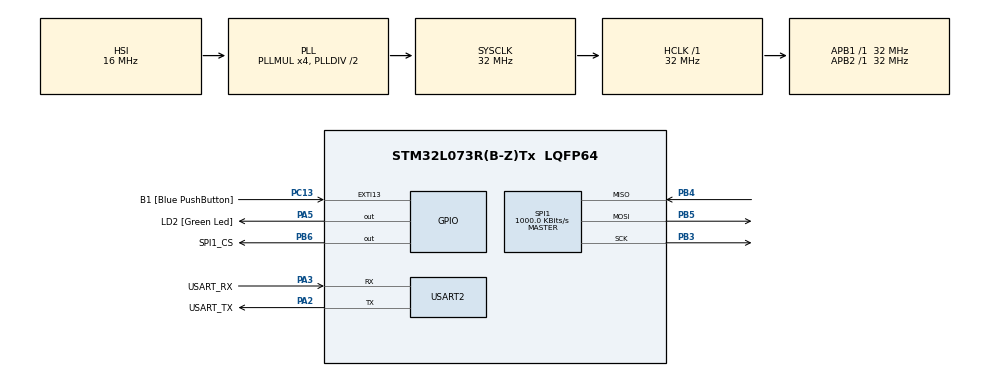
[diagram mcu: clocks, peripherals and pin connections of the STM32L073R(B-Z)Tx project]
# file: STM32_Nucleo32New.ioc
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Mcu.Family=STM32L0
Mcu.Name=STM32L073R(B-Z)Tx
Mcu.Package=LQFP64
PA13.GPIO_Label=TMS
PA13.Mode=Serial_Wire
PA13.Signal=SYS_SWDIO
PA14.GPIO_Label=TCK
PA14.Mode=Serial_Wire
PA14.Signal=SYS_SWCLK
PA2.GPIO_Label=USART_TX
PA2.Mode=Asynchronous
PA2.Signal=USART2_TX
PA3.GPIO_Label=USART_RX
PA3.Mode=Asynchronous
PA3.Signal=USART2_RX
PA5.GPIO_Label=LD2 [Green Led]
PA5.Signal=GPIO_Output
PB3.Mode=Full_Duplex_Master
PB3.Signal=SPI1_SCK
PB4.Mode=Full_Duplex_Master
PB4.Signal=SPI1_MISO
PB5.Mode=Full_Duplex_Master
PB5.Signal=SPI1_MOSI
PB6.GPIO_Label=SPI1_CS
PB6.PinState=GPIO_PIN_SET
PB6.Signal=GPIO_Output
PC13.GPIO_Label=B1 [Blue PushButton]
PC13.GPIO_ModeDefaultEXTI=GPIO_MODE_IT_FALLING
PC13.Signal=GPXTI13
PC14-OSC32_IN.Mode=LSE-External-Oscillator
PC14-OSC32_IN.Signal=RCC_OSC32_IN
PC15-OSC32_OUT.Mode=LSE-External-Oscillator
PC15-OSC32_OUT.Signal=RCC_OSC32_OUT
PH0-OSC_IN.GPIO_Label=MCO
PH0-OSC_IN.Mode=HSE-External-Clock-Source
PH0-OSC_IN.Signal=RCC_OSC_IN
ProjectManager.HeapSize=0x200
ProjectManager.StackSize=0x400
ProjectManager.TargetToolchain=TrueSTUDIO
RCC.AHBFreq_Value=32000000
RCC.APB1Freq_Value=32000000
RCC.APB1TimFreq_Value=32000000
RCC.APB2Freq_Value=32000000
RCC.APB2TimFreq_Value=32000000
RCC.HCLKFreq_Value=32000000
RCC.HSE_VALUE=8000000
RCC.HSI16_VALUE=16000000
RCC.HSI48_VALUE=48000000
RCC.HSI_VALUE=16000000
RCC.MSI_VALUE=2097000
RCC.PLLMUL=RCC_PLLMUL_4
RCC.SYSCLKFreq_VALUE=32000000
RCC.SYSCLKSource=RCC_SYSCLKSOURCE_PLLCLK
RCC.VCOOutputFreq_Value=64000000
SPI1.BaudRatePrescaler=SPI_BAUDRATEPRESCALER_32
SPI1.CalculateBaudRate=1000.0 KBits/s
SPI1.Direction=SPI_DIRECTION_2LINES
SPI1.Mode=SPI_MODE_MASTER
SPI1.VirtualType=VM_MASTER
USART2.VirtualMode-Asynchronous=VM_ASYNC
VP_ADC_TempSens_Input.Mode=IN-TempSens
board=NUCLEO-L073RZ

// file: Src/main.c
/* USER CODE BEGIN Header */
/**
  ******************************************************************************
  * @file           : main.c
  * @brief          : Main program body
  ******************************************************************************
  ** This notice applies to any and all portions of this file
  * that are not between comment pairs USER CODE BEGIN and
  * USER CODE END. Other portions of this file, whether
  * inserted by the user or by software development tools
  * are owned by their respective copyright owners.
  *
  * COPYRIGHT(c) 2019 STMicroelectronics
  *
  * Redistribution and use in source and binary forms, with or without modification,
  * are permitted provided that the following conditions are met:
  *   1. Redistributions of source code must retain the above copyright notice,
  *      this list of conditions and the following disclaimer.
  *   2. Redistributions in binary form must reproduce the above copyright notice,
  *      this list of conditions and the following disclaimer in the documentation
  *      and/or other materials provided with the distribution.
  *   3. Neither the name of STMicroelectronics nor the names of its contributors
  *      may be used to endorse or promote products derived from this software
  *      without specific prior written permission.
  *
  * THIS SOFTWARE IS PROVIDED BY THE COPYRIGHT HOLDERS AND CONTRIBUTORS "AS IS"
  * AND ANY EXPRESS OR IMPLIED WARRANTIES, INCLUDING, BUT NOT LIMITED TO, THE
  * IMPLIED WARRANTIES OF MERCHANTABILITY AND FITNESS FOR A PARTICULAR PURPOSE ARE
  * DISCLAIMED. IN NO EVENT SHALL THE COPYRIGHT HOLDER OR CONTRIBUTORS BE LIABLE
  * FOR ANY DIRECT, INDIRECT, INCIDENTAL, SPECIAL, EXEMPLARY, OR CONSEQUENTIAL
  * DAMAGES (INCLUDING, BUT NOT LIMITED TO, PROCUREMENT OF SUBSTITUTE GOODS OR
  * SERVICES; LOSS OF USE, DATA, OR PROFITS; OR BUSINESS INTERRUPTION) HOWEVER
  * CAUSED AND ON ANY THEORY OF LIABILITY, WHETHER IN CONTRACT, STRICT LIABILITY,
  * OR TORT (INCLUDING NEGLIGENCE OR OTHERWISE) ARISING IN ANY WAY OUT OF THE USE
  * OF THIS SOFTWARE, EVEN IF ADVISED OF THE POSSIBILITY OF SUCH DAMAGE.
  *
  ******************************************************************************
  */
/* USER CODE END Header */

#include "main.h"

/* USER CODE BEGIN Includes */
#include "string.h"
#include "stdlib.h"
#include "stdio.h"
#include "math.h"
#include "ADXL355.h"
/* USER CODE END Includes */

/* USER CODE BEGIN PTD */
typedef struct {
	uint32_t * buf;
	int head;
	int tail;
	int size;
} fifo_t;
/* USER CODE END PTD */

/* USER CODE BEGIN PD */
#define SECONDS 1000
#define BUFFER_SIZE 17 // note that it is size n-1
//#define DATA_SIZE 15 //for FIFO debugging
#define DELAY 1 //in seconds

#define TEMP130_CAL_ADDR ((uint16_t*) ((uint32_t) 0x1FF8007E))
#define TEMP30_CAL_ADDR ((uint16_t*) ((uint32_t) 0x1FF8007A))
#define VDD_CALIB ((uint16_t) (300))
#define VDD_APPLI ((uint16_t) (330)) // <-- change this to according to your supply voltage

/* USER CODE END PD */

ADC_HandleTypeDef hadc;

SPI_HandleTypeDef hspi1;

UART_HandleTypeDef huart2;

/* USER CODE BEGIN PV */
fifo_t fifoX; //fifo declaration
fifo_t fifoY; //fifo declaration
fifo_t fifoZ; //fifo declaration
uint32_t bufferX[BUFFER_SIZE]; //FIFO buffer declaration
uint32_t bufferY[BUFFER_SIZE]; //FIFO buffer declaration
uint32_t bufferZ[BUFFER_SIZE]; //FIFO buffer declaration

uint32_t *pBufferX = &bufferX[0]; //pointer declarations
uint32_t *pBufferY = &bufferY[0]; //pointer declarations
uint32_t *pBufferZ = &bufferZ[0]; //pointer declarations
fifo_t *pFifoX = &fifoX; //pointer declarations
fifo_t *pFifoY = &fifoY; //pointer declarations
fifo_t *pFifoZ = &fifoZ; //pointer declarations
/* USER CODE END PV */

void SystemClock_Config(void);
static void MX_GPIO_Init(void);
static void MX_USART2_UART_Init(void);
static void MX_SPI1_Init(void);
static void MX_ADC_Init(void);

/* USER CODE BEGIN 0 */
int stateManager(int oldState, int index, char currentChar);
int commandVerifier(char string[]);
void commandHandler(int command, char string[]);
void commandExecutor(int command, char substring[]);

void commandHelp(char substring[]);
void commandADXL355(char substring[]);
void commandSPI_read(char substring[]);
void commandSPI_write(char substring[]);
void commandInit(char substring[]);
void commandMeasure(char substring[]);

void verifyOrientationFIFO(void);
void floatToString(float num, int decimals, char * str, int strLength);
float rangeToScale(int range);

void fifo_init(fifo_t *f, uint32_t *buf, int size);
int fifo_read(fifo_t *f, void * buf, int nbytes);
int fifo_write(fifo_t *f, const void *buf, int nbytes);
float fifo_average(fifo_t *f);
void fifoDebugger(void);

void printTempST(void);
float computeTemperature(uint32_t measure);

/* USER CODE END 0 */

int main(void) {
  /* USER CODE BEGIN 1 */
	enum commands { non_command, help, ADXL355, SPI_read, SPI_write, init , measure, FIFO } command;
	enum state { begin, next, eol } currentState;

   	uint8_t startupMessage[] = "Hello! Please type below: \r\n\n";
	uint8_t newLine[] = "\r\n";

	int startupMessageLength = 29;
	int newLineLength = 2;

	char in[1];
	char buffer [256];
  /* USER CODE END 1 */

  /* MCU Configuration--------------------------------------------------------*/

  /* Reset of all peripherals, Initializes the Flash interface and the Systick. */
  HAL_Init();

  /* USER CODE BEGIN Init */
  fifo_init(pFifoX, pBufferX, BUFFER_SIZE); //initialization for x FIFO
  fifo_init(pFifoY, pBufferY, BUFFER_SIZE); //initialization for y FIFO
  fifo_init(pFifoZ, pBufferZ, BUFFER_SIZE); //initialization for z FIFO
  /* USER CODE END Init */

  /* Configure the system clock */
  SystemClock_Config();

  /* Initialize all configured peripherals */
  MX_GPIO_Init();
  MX_USART2_UART_Init();
  MX_SPI1_Init();
  MX_ADC_Init();

  /* Infinite loop */
  /* USER CODE BEGIN WHILE */

  HAL_UART_Transmit(&huart2, newLine, newLineLength, 100); //prints new line
  HAL_StatusTypeDef status = HAL_UART_Transmit(&huart2, startupMessage, startupMessageLength, 100); //defining status.. "type something"

  int j = 0; //index of char we are about to type
  currentState = begin;

  while (1)
  {
    /* USER CODE END WHILE */

    /* USER CODE BEGIN 3 */
	  switch ( currentState ) { //state machine

	  case begin :
		  j = 0; //first index

		  do
			  status = HAL_UART_Receive(&huart2, (uint8_t *)in, 1, 1000);
		  while (status != HAL_OK); //keep looping till they type

		  buffer[j] = in[0]; //copy what they typed onto the buffer
	  	  buffer[j+1] = '\0';

	  	  HAL_UART_Transmit(&huart2, (uint8_t *)in, 1, 100); //prints right away
	  	  currentState = stateManager(begin, j, in[0]); //switch states

	  	  break;

	  case next :
		  j++; //increment as they're still going to type

		  do
			  status = HAL_UART_Receive(&huart2, (uint8_t *)in, 1, 1000);
		  while (status != HAL_OK); //keep looping till they type

		  buffer[j] = in[0]; //copy what they typed onto the buffer
	  	  buffer[j+1] = '\0'; //cap the end of the string

	  	  HAL_UART_Transmit(&huart2, (uint8_t *)in, 1, 100); //prints right away

	  	  if (buffer[j] == '\177' || buffer[j] == 0x08) { //backspace (not sure about the \177 key but it was necessary)
	  		  j--;
	  		  buffer[j] = '\0'; // new line
	  		  j--;
	  	  }

	  	  currentState = stateManager(next, j, in[0]);

	  	  break;

	  case eol : //end of line

		  command = commandVerifier(buffer); //checking to see if a valid command was inputed
		  if (command != non_command)  //if command typed is valid then send it to the commandHandler
			  commandHandler(command, buffer);
		  else
			  printf("\r\nInvalid input... type 'help' for valid inputs\r\n");

		  HAL_UART_Transmit(&huart2, (uint8_t *) newLine, newLineLength, 100); //prints new line
		  currentState = stateManager(eol, j, in[0]); //switches states
		  break;
	  }
  }
  /* USER CODE END 3 */
}

void SystemClock_Config(void)
{
  RCC_OscInitTypeDef RCC_OscInitStruct = {0};
  RCC_ClkInitTypeDef RCC_ClkInitStruct = {0};
  RCC_PeriphCLKInitTypeDef PeriphClkInit = {0};

  /**Configure the main internal regulator output voltage
  */
  __HAL_PWR_VOLTAGESCALING_CONFIG(PWR_REGULATOR_VOLTAGE_SCALE1);
  /**Initializes the CPU, AHB and APB busses clocks
  */
  RCC_OscInitStruct.OscillatorType = RCC_OSCILLATORTYPE_HSI;
  RCC_OscInitStruct.HSIState = RCC_HSI_ON;
  RCC_OscInitStruct.HSICalibrationValue = RCC_HSICALIBRATION_DEFAULT;
  RCC_OscInitStruct.PLL.PLLState = RCC_PLL_ON;
  RCC_OscInitStruct.PLL.PLLSource = RCC_PLLSOURCE_HSI;
  RCC_OscInitStruct.PLL.PLLMUL = RCC_PLLMUL_4;
  RCC_OscInitStruct.PLL.PLLDIV = RCC_PLLDIV_2;
  if (HAL_RCC_OscConfig(&RCC_OscInitStruct) != HAL_OK)
  {
    Error_Handler();
  }
  /**Initializes the CPU, AHB and APB busses clocks
  */
  RCC_ClkInitStruct.ClockType = RCC_CLOCKTYPE_HCLK|RCC_CLOCKTYPE_SYSCLK
                              |RCC_CLOCKTYPE_PCLK1|RCC_CLOCKTYPE_PCLK2;
  RCC_ClkInitStruct.SYSCLKSource = RCC_SYSCLKSOURCE_PLLCLK;
  RCC_ClkInitStruct.AHBCLKDivider = RCC_SYSCLK_DIV1;
  RCC_ClkInitStruct.APB1CLKDivider = RCC_HCLK_DIV1;
  RCC_ClkInitStruct.APB2CLKDivider = RCC_HCLK_DIV1;

  if (HAL_RCC_ClockConfig(&RCC_ClkInitStruct, FLASH_LATENCY_1) != HAL_OK)
  {
    Error_Handler();
  }
  PeriphClkInit.PeriphClockSelection = RCC_PERIPHCLK_USART2;
  PeriphClkInit.Usart2ClockSelection = RCC_USART2CLKSOURCE_PCLK1;
  if (HAL_RCCEx_PeriphCLKConfig(&PeriphClkInit) != HAL_OK)
  {
    Error_Handler();
  }
}

static void MX_ADC_Init(void)
{

  ADC_ChannelConfTypeDef sConfig = {0};

  /**Configure the global features of the ADC (Clock, Resolution, Data Alignment and number of conversion)
  */
  hadc.Instance = ADC1;
  hadc.Init.OversamplingMode = DISABLE;
  hadc.Init.ClockPrescaler = ADC_CLOCK_SYNC_PCLK_DIV2;
  hadc.Init.Resolution = ADC_RESOLUTION_12B;
  hadc.Init.SamplingTime = ADC_SAMPLETIME_19CYCLES_5;
  hadc.Init.ScanConvMode = ADC_SCAN_DIRECTION_FORWARD;
  hadc.Init.DataAlign = ADC_DATAALIGN_RIGHT;
  hadc.Init.ContinuousConvMode = DISABLE;
  hadc.Init.DiscontinuousConvMode = DISABLE;
  hadc.Init.ExternalTrigConvEdge = ADC_EXTERNALTRIGCONVEDGE_NONE;
  hadc.Init.ExternalTrigConv = ADC_SOFTWARE_START;
  hadc.Init.DMAContinuousRequests = DISABLE;
  hadc.Init.EOCSelection = ADC_EOC_SINGLE_CONV;
  hadc.Init.Overrun = ADC_OVR_DATA_PRESERVED;
  hadc.Init.LowPowerAutoWait = DISABLE;
  hadc.Init.LowPowerFrequencyMode = DISABLE;
  hadc.Init.LowPowerAutoPowerOff = DISABLE;
  if (HAL_ADC_Init(&hadc) != HAL_OK)
  {
    Error_Handler();
  }
  /**Configure for the selected ADC regular channel to be converted.
  */
  sConfig.Channel = ADC_CHANNEL_TEMPSENSOR;
  sConfig.Rank = ADC_RANK_CHANNEL_NUMBER;
  if (HAL_ADC_ConfigChannel(&hadc, &sConfig) != HAL_OK)
  {
    Error_Handler();
  }

}

static void MX_SPI1_Init(void)
{

  /* SPI1 parameter configuration*/
  hspi1.Instance = SPI1;
  hspi1.Init.Mode = SPI_MODE_MASTER;
  hspi1.Init.Direction = SPI_DIRECTION_2LINES;
  hspi1.Init.DataSize = SPI_DATASIZE_8BIT;
  hspi1.Init.CLKPolarity = SPI_POLARITY_LOW;
  hspi1.Init.CLKPhase = SPI_PHASE_1EDGE;
  hspi1.Init.NSS = SPI_NSS_SOFT;
  hspi1.Init.BaudRatePrescaler = SPI_BAUDRATEPRESCALER_32;
  hspi1.Init.FirstBit = SPI_FIRSTBIT_MSB;
  hspi1.Init.TIMode = SPI_TIMODE_DISABLE;
  hspi1.Init.CRCCalculation = SPI_CRCCALCULATION_DISABLE;
  hspi1.Init.CRCPolynomial = 7;
  if (HAL_SPI_Init(&hspi1) != HAL_OK)
  {
    Error_Handler();
  }

}

static void MX_USART2_UART_Init(void)
{

  huart2.Instance = USART2;
  huart2.Init.BaudRate = 115200;
  huart2.Init.WordLength = UART_WORDLENGTH_8B;
  huart2.Init.StopBits = UART_STOPBITS_1;
  huart2.Init.Parity = UART_PARITY_NONE;
  huart2.Init.Mode = UART_MODE_TX_RX;
  huart2.Init.HwFlowCtl = UART_HWCONTROL_NONE;
  huart2.Init.OverSampling = UART_OVERSAMPLING_16;
  huart2.Init.OneBitSampling = UART_ONE_BIT_SAMPLE_DISABLE;
  huart2.AdvancedInit.AdvFeatureInit = UART_ADVFEATURE_NO_INIT;
  if (HAL_UART_Init(&huart2) != HAL_OK)
  {
    Error_Handler();
  }

}

static void MX_GPIO_Init(void)
{
  GPIO_InitTypeDef GPIO_InitStruct = {0};

  /* GPIO Ports Clock Enable */
  __HAL_RCC_GPIOC_CLK_ENABLE();
  __HAL_RCC_GPIOH_CLK_ENABLE();
  __HAL_RCC_GPIOA_CLK_ENABLE();
  __HAL_RCC_GPIOB_CLK_ENABLE();

  /*Configure GPIO pin Output Level */
  HAL_GPIO_WritePin(LD2_GPIO_Port, LD2_Pin, GPIO_PIN_RESET);

  /*Configure GPIO pin Output Level */
  HAL_GPIO_WritePin(SPI1_CS_GPIO_Port, SPI1_CS_Pin, GPIO_PIN_SET);

  /*Configure GPIO pin : B1_Pin */
  GPIO_InitStruct.Pin = B1_Pin;
  GPIO_InitStruct.Mode = GPIO_MODE_IT_FALLING;
  GPIO_InitStruct.Pull = GPIO_NOPULL;
  HAL_GPIO_Init(B1_GPIO_Port, &GPIO_InitStruct);

  /*Configure GPIO pin : LD2_Pin */
  GPIO_InitStruct.Pin = LD2_Pin;
  GPIO_InitStruct.Mode = GPIO_MODE_OUTPUT_PP;
  GPIO_InitStruct.Pull = GPIO_NOPULL;
  GPIO_InitStruct.Speed = GPIO_SPEED_FREQ_LOW;
  HAL_GPIO_Init(LD2_GPIO_Port, &GPIO_InitStruct);

  /*Configure GPIO pin : SPI1_CS_Pin */
  GPIO_InitStruct.Pin = SPI1_CS_Pin;
  GPIO_InitStruct.Mode = GPIO_MODE_OUTPUT_PP;
  GPIO_InitStruct.Pull = GPIO_NOPULL;
  GPIO_InitStruct.Speed = GPIO_SPEED_FREQ_LOW;
  HAL_GPIO_Init(SPI1_CS_GPIO_Port, &GPIO_InitStruct);

}

/* USER CODE BEGIN 4 */
float computeTemperature(uint32_t measure) {

	float temp130 = (float) *TEMP130_CAL_ADDR;
	float temp30 = (float) *TEMP30_CAL_ADDR;

	float temperature = (float)(130-30)/(temp130-temp30); //slope
	temperature = temperature*((float)measure-*TEMP30_CAL_ADDR);
	temperature += 30.0;
	return(temperature);
}

void printTempST(void) {
	//ADC->CCR |= ADC_CCR_TSVREFE;
	//ADC->CCR &= ~ADC_CCR_VBATE ;

	uint32_t g_ADCValue;
	//float g_ADCValueF;
	//char g_ADCValueS[6];

	if (HAL_ADC_PollForConversion(&hadc, 1000000) == HAL_OK) {
		g_ADCValue = HAL_ADC_GetValue(&hadc);
		//g_ADCValueF = computeTemperature(g_ADCValue);
		//floatToString(g_ADCValueF, 2, g_ADCValueS, 5);

		printf("MCU Temp (C):, %lu", g_ADCValue);
	}
}

//these two functions below allow us to use printf on the STM32 controller though stdio.h - do not modify
int __io_putchar(int ch) {
	uint8_t c[1];
	c[0] = ch & 0x00FF;
	HAL_UART_Transmit(&huart2, &*c, 1, 10);
	return ch;
}
int _write(int file, char *ptr, int len) {
	int DataIdx;
	for(DataIdx= 0; DataIdx < len; DataIdx++)
		__io_putchar(*ptr++);
return len;
}

/*
 * @param : void
 *
 * This function is called before reading from the FIFO - it ensures that it is 'oriented correctly'
 * That is, that the user will commence by reading a value from the x register, then y and z respectively
 */
void verifyOrientationFIFO (void) {
	enum state { one , firstZero, secondZero, searching } currentState; //state machine

	int timeoutChecker = 0;
	uint8_t a1, a2, a3; //used to read from a register (ie: x has 20 bits, we read 8 at a time)
	currentState = searching;

	uint8_t txData = (0x11 << 1) | 1 ;  //setting up the MOSI byte

	while (1) {  //keep looping till FIFO is oriented on x

		int counter = 0;

		if (timeoutChecker > 30000) {
			//printf("\r\nError: Timed out when trying to orient the FIFO\r\n");
			return; //simple timeout checker, allows us to try arond 300 times before exiting
		} else
			timeoutChecker++;

		HAL_GPIO_WritePin(SPI1_CS_GPIO_Port, SPI1_CS_Pin, GPIO_PIN_RESET); // CS ON

		HAL_SPI_Transmit (&hspi1, &txData, 1, 100);

		HAL_SPI_Receive (&hspi1, &a1, 1, 100); //could be x, y, or z - most sig digits
		HAL_SPI_Receive (&hspi1, &a2, 1, 100); //could be x, y, or z - middle sig digits
		HAL_SPI_Receive (&hspi1, &a3, 1, 100); //could be x, y, or z - last 2 bits refer to the x bit,

		a3 = a3 & 3 ; //only look at last 2 bits, bc it contains a tag that lets you know if it is an x bit

		HAL_GPIO_WritePin(SPI1_CS_GPIO_Port, SPI1_CS_Pin, GPIO_PIN_SET); // CS OFF

		switch ( currentState ) {

		    case one : //an x bit
			    if ( a3 == 0 )
				    currentState = firstZero;
			    break;

		    case firstZero : //right after the x bit, therefore y
			    if ( a3 == 0 )
				    currentState = secondZero;
			    break;

		    case secondZero : //right after the y bit, therefore z
		    	counter++;

		    	if (counter > 32)
		    		return; //returns so that we will read on x
		    	else {
		    		currentState = one;
		    		break;
		    	}

		    default :
		    	if ( a3 == 1 )
				    currentState = one;
			    break;
		}
	}
}
/*
 * @param num - the float number we will convert into a string
 * @param decimals - the number of decimals our number will have
 * @param *str - pointer to the string we are going to write into
 * @param strLength - the length of the string we are going to write into
 *
 * This function takes in a float value, and writes it into a string
 */
void floatToString(float num, int decimals, char * str, int strLength) {
	int decimalPart;
	int integerPart;

	integerPart = num;
	num = num - integerPart;

	int scale = 1;

	for ( int i = 0 ; i < decimals ; i++ )
		scale *= 10 ;

	decimalPart = num * scale;

	if ( num > 0 )
		sprintf(str, "%d.%d", integerPart, decimalPart);
	else if ( num < 0 ) {
		decimalPart *= -1;
		decimalPart /= 10;
		if (integerPart == 0 )
			sprintf(str, "-%d.%d", integerPart, decimalPart);
		else
			sprintf(str, "%d.%d", integerPart, decimalPart);
	} else if ( num == 0 ) {
		sprintf(str, "%d.", integerPart);
		for ( int i = 0 ; i < decimals ; i++)
			sprintf(str, "%s0", str);
	}

	while (strlen(str) < strLength)
		strcat(str, "0");
}
float rangeToScale(int range) {
	switch ( range ) { //set the scale based off of the current range

	case 2 :
		return 256000.0;

	case 4 :
		return 128000.0;

	case 8 :
		return 64000.0;

	default :
		return 256000.0;
	}
}

/*
 * @param : oldState - the state that the user was at before typing a character
 * @param : index - the number of keys that the user has typed in a line minus 1
 * @param : currentChar - the character the user inputed
 *
 * This function decides what state to send the user into after typing in a character
 */
int stateManager(int oldState, int index, char currentChar) {
	enum state { begin, next, eol };

	if (oldState == eol) //after pressing enter, one should start a new line
		return begin;
	if (index > 253) //cannot read more than 1 byte of data, left some room to work w/ just in case
		return eol;

	switch ( currentChar ) {
	case 0x08 : //backspace
		if (index == 0)
			return begin;
		else
			return next;

	case 0x20 : //space bar
		return next;

	case 0x0D : //enter
		return eol;

	case 0x0A : //line feed
		return eol;

	default : //any other key
		return next;
	}
}
/*
 * @param : string - the string of characters the user inputed, used to see if the user
 *                   inputed a valid command
 * @return : int - the command (enum) that was selected, or non_command if something else was typed
 *
 * This function was used to verify whether a valid command was inputed
 */
int commandVerifier(char string[]) {
	enum commands { non_command, help, ADXL355, SPI_read, SPI_write, init , measure, FIFO } ;

	char parser;
	int size = 0;
	do { //until it hits the space bar key or enter
		parser = string[size];
		size++;
	} while (parser != 0x20 && parser != 0x0D);

	size--;

	char commandString[size+1];
	for (int i = 0 ; i < size ; i++)
		commandString[i] = string[i];

	commandString[size] = '\0'; // cap off the first word as its own string

	if (strcmp(commandString, "help") == 0) //check to see if it matches any commands
		return help;
	else if (strcmp(commandString, "ADXL355") == 0)
		return ADXL355;
	else if (strcmp(commandString, "SPI_read") == 0)
			return SPI_read;
	else if (strcmp(commandString, "SPI_write") == 0)
			return SPI_write;
	else if (strcmp(commandString, "init") == 0)
		return init;
	else if (strcmp(commandString, "measure") == 0)
		return measure;
	else if (strcmp(commandString, "FIFO") == 0)
		return FIFO;
	else
		return non_command;
}
/*
 * @param : command - the command that has been verified
 * @param : string - what the user has typed in
 *
 * This function splits up the command string into the substring not containing the command itself,
 * and sends it to be executed
 */
void commandHandler(int command, char string[]) {
	enum commands { non_command, help, ADXL355, SPI_read, SPI_write, init , measure, FIFO };
	int size = -1; //garbage size value initialization

	switch ( command ) {
	case help :
		size = strlen(string)-strlen("help ");
		break;

	case ADXL355 :
		size = strlen(string)-strlen("ADXL355 ");
		break;

	case SPI_read :
		size = strlen(string)-strlen("SPI_read ");
		break;

	case SPI_write :
		size = strlen(string)- strlen("SPI_write ");
		break;

	case init :
		size = strlen(string)- strlen("init");
		break;

	case measure :
		size = strlen(string)- strlen("measure ");
		break;

	case FIFO :
		size = strlen(string)- strlen("FIFO");
		break;
	}

	char restOfLine[size];
	for (int i = 0 ; i < size ; i++)
		restOfLine[i] = string[strlen(string)-size+i];

	if (restOfLine[size-1] == 0x0D || restOfLine[size-1] == 0x20)
		restOfLine[size-1] = '\0'; //changed to size-1 instead of size
	else
		restOfLine[size] = '\0';

	if ((size == 0 && command == help) || (size == 0 && command == init) || (size == 0 && command == FIFO))
		commandExecutor(command, "\r");
	else
		commandExecutor(command, restOfLine);

}
/*
 * @param : command, substring - the command and substring read from a user
 *
 * This function calls the appropriate function corresponding to the command given
 */
void commandExecutor(int command, char substring[]) {
	enum commands { non_command, help, ADXL355, SPI_read, SPI_write, init , measure, FIFO };

	switch ( command ) {
	case help :
		commandHelp(substring);
		return;

	case ADXL355 :
		commandADXL355(substring);
		return;

	case SPI_read :
		commandSPI_read(substring);
		return;

	case SPI_write :
		commandSPI_write(substring);
		return;

	case init :
		commandInit(substring);
		return;

	case measure :
		commandMeasure(substring);
		return;

	case FIFO :
		fifoDebugger();
		return;
	}
}

/*
 * @param : substring
 *
 * This command prints some basic help to the user, so that they know how to use this software,
 * hand-in-hand with the ADXL355 eval board
 */
void commandHelp(char substring[]) {
	int size = strlen(substring);

	if (size == 1 && substring[0] == 0x0D) {
		printf("\r\nTo use a command, enter ADXL355, followed by the command/parameters, \r\nwith a single space in "
				"between each word.\r\n\nCurrent valid commands are: SPI_read , SPI_write , init , measure\r\n");
		printf("To check the parameters for a specific function, type \"help <function_name>\"\r\n");
		return;
	} else if ((strcmp(substring, "ADXL355 SPI_read") == 0) || (strcmp(substring, "SPI_read") == 0)) {
		printf("\r\nTo read from a register, type \"ADXL355 SPI_read <register_number>\"");
		printf("\r\nNote that registers are unsigned integers, in hexadecimal form.");
		printf("\r\n");
		return;
	} else if ((strcmp(substring, "ADXL355 SPI_write") == 0) || (strcmp(substring, "SPI_write") == 0)) {
		printf("\r\nTo write to a register, type \"ADXL355 SPI_write <register_number> <data_you_are_sending>\"");
		printf("\r\nNote that registers are unsigned integers, in hexadecimal form, while data is in decimal form.");
		printf("\r\n");
		return;
	} else if ((strcmp(substring, "ADXL355 measure") == 0) || (strcmp(substring, "measure") == 0)) {
		printf("\r\nTo measure all values, type \"ADXL355 measure ALL <delay time in seconds\"");
		printf("\r\n");
		return;
	} else if ((strcmp(substring, "ADXL355 init") == 0) || (strcmp(substring, "init") == 0)) {
		printf("\r\nTo reset and initialize the accelerometer, type \"ADXL355 init\"");
		printf("\r\n");
		return;
	} else {
		printf("\r\nInvalid input - either type \"help\" or \"help <function_name>\"");
		printf("\r\n");
	}
}
/*
 * @param : substring
 *
 * This special command focuses on the ADXL355, ensuring that this is the eval board being called
 * It takes the rest of the string (substring) and resends it to the command verifier to determine
 * if a specific ADXL355 command has been called
 */
void commandADXL355(char substring[]) {
	enum commands { non_command, help, ADXL355, SPI_read, SPI_write, init , measure, FIFO } command;

	command = commandVerifier(substring); //checking to see if a valid ADXL355 command was inputed
	if (command != non_command)  //if command typed is valid then send it to the commandHandler
		commandHandler(command, substring);
	else
		printf("\nError: Invalid command. Valid commands are start, stop,\r\nSPI_read, SPI_write, init , measure \r\n");
}
/*
 * @param : substring
 *
 * This function uses SPI to read from the ADXL355 accelerometer
 * This function can be used to read a specific address, the range, or all registers at once,
 * depending on the input
 */
void commandSPI_read(char substring[]) {
	char inputAddress[strlen(substring)];
	int invalidAddress = 0x2F;
	int address;
	uint32_t data;

	int i = 0;

	do { //parsing the inputed address into a string we can work with
		inputAddress[i]=substring[i];
		i++;
	} while (substring[i] != 0x0D && i<=6);

	inputAddress[i] = '\0';

	if (strcmp(inputAddress, "ALL") == 0) { //prints out the reading at all registers
		for (int j = 0; j < 0x2F ; j++) {
			data = ADXL355_SPI_Read(j);
			printf("\r\nAt address 0x%.2X, SPI reads: 0x%.2lX", j, data);
		}
		printf("\r\n");
	} else if (strcmp(inputAddress, "range") == 0) { //reads range
		uint32_t range = ADXL355_Read_Range();
		printf("\nRange is currently: Plus/minus %ld g\r\n", range);
	} else { //reads a specific address
		address = strtol(inputAddress, NULL, 16);

		if (address == invalidAddress) {
			printf("\r\nError: Cannot read from RESET address 0x2F.\r\n");
			return;
		}

		if (address >= 0 && address <= 255) {
			data = ADXL355_SPI_Read(address);
			printf("\r\nAt address 0x%.2X, SPI reads: 0x%.2lX\r\n", address, data);
		}
		else
			printf("\r\nError: Parameter must be a valid address, in\r\nhexadecimal form, from 0 to 0xFF\r\n");
	}
}
/*
 * @param : substring
 *
 * This function uses SPI to write to the ADXL355 accelerometer
 * This function can be used to write to a specific address, or the range (changing the range)
 * depending on the input
 */
void commandSPI_write(char substring[]) {

	char inputAddress[4];
	char inputMessage[4];

	int address;
	int message;

	int i = 0;

	do {
		inputAddress[i]=substring[i];
		i++;
	} while (substring[i] != 0x20 && i<=7);

	inputAddress[i] = '\0';

	if (strcmp(inputAddress, "range") == 0) { //writing to the range
		int j = 0;
		i++;

		do {
			inputMessage[j] = substring[i];
			i++;
			j++;
		} while (substring[i] != 0x0D && j <= 2);

		inputMessage[j] = '\0';

		message = strtol(inputMessage, NULL, 16);
		ADXL355_Set_Range (message);
		if (ADXL355_Read_Range() == message)
			printf("\nSuccess!\r\n");
		return;
	}

	address = strtol(inputAddress, NULL, 16);

	if (address >= 0x1E && address <= 0x2F) { //writing to a specific address
		int j = 0;
		i++;

		do {
			inputMessage[j] = substring[i];
			i++;
			j++;
		} while (substring[i] != 0x0D && j <= 4);

		inputMessage[j] = '\0';

		message = strtol(inputMessage, NULL, 16);

		if (message >= 0x00 && message <= 0xFF) {
			uint8_t old_message = ADXL355_SPI_Read(address);
			printf("\r\nAt address 0x%.2X: SPI has written 0x%.2X into 0x%.2X\r\n", address, old_message, message);
			ADXL355_SPI_Write(address, message, 1);
		}
		else
			printf("\r\nError: Invalid message, must be in hexadecimal form, from 0 to 0xFF.");
	}
	else
		printf("\r\nError: Parameter must be a valid address, in hexadecimal form, from 0 to 0xFF.\r\n"
				"You can only write to the registers ranging from 0x1E to 0x2F\r\n");
}
/*
 * @param : substring
 *
 * This function initializes the ADXL355 eval board, aka tests that we are reading correctly from
 * some important registers
 */
void commandInit(char substring[]) {
	if (substring[0] == 0x0D) {
		ADXL355_Init();
		commandSPI_write("0x28 9");
	} else
		printf("\nError: To initialize ADXL355, simply type 'ADXL355 init'\r\nfollowed by the enter key\r\n");
}
/*
 * @param : substring
 *
 * This command, when called to by typing 'ADXL355 measure ALL' will begin measuring values from the eval board,
 * until the user presses any key. It currently has the delay commented out, so it is outputting values at its
 * max speed, which is roughly 40 times per second. If one wishes, they can add a delay in the main loop, so
 * that it reads at a different frequency.
 * The values that this command measures are g, in the x,y,z directions, as well as temperature in celsius.
 */
void commandMeasure(char substring[]) {

	char command[3];
	char delayLength_s[4];
	int delay;
	int i = 0;
	float temperature;
	HAL_StatusTypeDef UARTstatus, SPIstatus;
	char in[1];
	float scale;
	uint16_t temp;
	uint8_t x1, x2, x3, y1, y2, y3, z1, z2, z3, temp1, temp2;
	uint32_t x0, y0, z0;
	float xf, yf, zf;
	int x, y, z;

	int boolIsEmpty;
	int boolIsMisalligned;

	char temperatureString[5];

	float averageX, averageY, averageZ;
	int index = 0;
	int terminate = 0;
	int boolWrote = 0;
	uint32_t dataOutX, dataOutY, dataOutZ;

	uint8_t txData = (0x11 << 1) | 1 ;

	do { //reading the first word, should be 'ALL'
		command[i]=substring[i];
		i++;
	} while (substring[i] != 0x20 && i<3); //3 or 4  ? ? ?

	command[i] = '\0';

	if (strcmp(command, "ALL") == 0) { //checking to see if the value inputted == "ALL"
		printf("\r\n");

		int j = 0;
		i++;

		do { //reading delay time
			delayLength_s[j] = substring[i];
			i++;
			j++;
		} while (substring[i] != 0x0D && j < 4);

		delayLength_s[j] = '\0';

		delay = strtol(delayLength_s, NULL, 10);

	} else {
		printf("\r\nError : enter 'ADXL355 measure ALL <delay_time>' to start measuring\r\n");
		return;
	}

	if ((delay > 0) && (delay < 10000))
		ADXL355_Start_Sensor(); //start the sensors
	else {
		printf("\r\nError : Delay time must be a positive integer from 1 to 9999 (in seconds)\r\n");
		return;
	}

	//printf("Temperature test 5 on Board #1 (com11)\r\nFIFO SIZE: 64 \r\nDELAY time: aiming for 1 min\r\n"
	//				"Filter setting 0x28 7\r\nTemperature chamber ascending in temp (roughly hourly)\r\n"); //new thing for testing

	uint32_t range = ADXL355_Read_Range(); //read the current range
	printf("Range is currently plus/minus %ld [g]\r\nPlease wait a moment for measurements to commence. . .\r\n", range); //print the range to the screen

	scale = rangeToScale(range); 	//set the scale based off of the current range

	verifyOrientationFIFO();

	int timeElapsed = 0;

	do { //main reading loop, only exits once the user presses a key on the keyboard

		boolIsMisalligned = 0;
		boolIsEmpty = 0;

		temp2 = ADXL355_SPI_Read(0x06); //reading from the temperature registers
		temp1 = ADXL355_SPI_Read(0x07);

		HAL_GPIO_WritePin(SPI1_CS_GPIO_Port, SPI1_CS_Pin, GPIO_PIN_RESET); // chip select ON

		HAL_SPI_Transmit (&hspi1, &txData, 1, 10);

		SPIstatus = HAL_SPI_Receive (&hspi1, &x3, 1, 10); //using FIFO to read the x,y,z registers
		SPIstatus = HAL_SPI_Receive (&hspi1, &x2, 1, 10);
		SPIstatus = HAL_SPI_Receive (&hspi1, &x1, 1, 10);
		SPIstatus = HAL_SPI_Receive (&hspi1, &y3, 1, 10);
		SPIstatus = HAL_SPI_Receive (&hspi1, &y2, 1, 10);
		SPIstatus = HAL_SPI_Receive (&hspi1, &y1, 1, 10);
		SPIstatus = HAL_SPI_Receive (&hspi1, &z3, 1, 10);
		SPIstatus = HAL_SPI_Receive (&hspi1, &z2, 1, 10);
		SPIstatus = HAL_SPI_Receive (&hspi1, &z1, 1, 10);

		HAL_GPIO_WritePin(SPI1_CS_GPIO_Port, SPI1_CS_Pin, GPIO_PIN_SET); // chip selectOFF

		temp = ( temp2 << 8 ) | (( temp1 ) & 0xFF ); //combining the temp bits into one number

		if ((( y1 & 3 ) != 0 ) || (( z1 & 3 ) != 0 ) || (( x1 & 3 ) != 1 ))
			boolIsMisalligned = 1;

		if ((( y1 & 2 ) != 0 ) || (( z1 & 2 ) != 0 ) || (( x1 & 2 ) != 0 ))
			boolIsEmpty = 1;

		if ((boolIsMisalligned == 0) && (boolIsEmpty == 0)  && ( SPIstatus != HAL_TIMEOUT)) { //valid data

			x0 = ( x3 << 16 ) | ( x2 << 8 ) | ( x1 ); //rewriting the x,y,z bits into a single number
			y0 = ( y3 << 16 ) | ( y2 << 8 ) | ( y1 );
			z0 = ( z3 << 16 ) | ( z2 << 8 ) | ( z1 );

			//FIFO STUFF STARTS HERE
			if (index >= pFifoX->size-1){ //only take stuff out when its full
				fifo_read(pFifoX, &dataOutX, 1);
				fifo_read(pFifoY, &dataOutY, 1);
				fifo_read(pFifoZ, &dataOutZ, 1);

				if (boolWrote == 0)
					terminate++;
			}

			boolWrote = 1;

			if (terminate == pFifoX->size-2)
				break;

			fifo_write(pFifoX, &x0, 1);
			fifo_write(pFifoY, &y0, 1);
			fifo_write(pFifoZ, &z0, 1);

			averageX = fifo_average(pFifoX);
			averageY = fifo_average(pFifoY);
			averageZ = fifo_average(pFifoZ);

			if (index < pFifoX->size-1)
				index++;

			//FIFO STUFF ENDS HERE

			if (timeElapsed > delay*SECONDS/(pow(2,7))) { //(timeElapsed > delay*SECONDS/15)
                                            //magic number based on filter currently testing
				timeElapsed = 0;

// 				x = ADXL355_Acceleration_Data_Conversion (round(averageX)); //converting into acceleration data
//				y = ADXL355_Acceleration_Data_Conversion (round(averageY)); //x0,y0,z0 is average for FIFO stuff
//				z = ADXL355_Acceleration_Data_Conversion (round(averageZ));

				x = averageX;
				y = averageY;
				z = averageZ;

				xf = x; //copying this int into a float for easy conversions
				yf = y;
				zf = z;

				xf = ( xf * 1000000.0 / scale ); //scaling this value based off of the current range
				yf= ( yf * 1000000.0 / scale );
				zf = ( zf * 1000000.0 / scale );

				x = round(xf); //our values are in microGs, so we round to the nearest int
				y = round(yf); //this is consistent with the eval board's precision
				z = round(zf);

				temperature = (-1 * (temp - 1852.0) / 9.05 ) + 25 ; //converting temperature data into celsius
				floatToString(temperature, 4, temperatureString, 7); //converting this float into a printable string

				char stringAngleA[10];
				char stringAngleB[10];

				double angleA = atan2((double)y,(double)x);
				angleA *= 180.0;
				angleA = angleA / M_PI;

				double angleB = atan2((double)z,(double)x);
				angleB *= 180.0;
				angleB = angleB / M_PI;

				floatToString(angleA, 6, stringAngleA, 10);
				floatToString(angleB, 6, stringAngleB, 10);

				printf("\r\n,Angle A (deg):, %s,  Angle B (deg):, %s, "
						, stringAngleA, stringAngleB);
				printf("X (ug):, %08d,  Y (ug):, %08d,  Z (ug):, %08d,  Range (g):, %lu,  ACC Temp (C):, "
						"%s, Status:, %lu, ", x, y, z, range, temperatureString, ADXL355_SPI_Read(0x04));

				HAL_ADC_DeInit(&hadc);
				HAL_ADCEx_EnableVREFINTTempSensor(); //new
				SET_BIT(SYSCFG->CFGR3, SYSCFG_CFGR3_ENBUF_SENSOR_ADC);  //new
				HAL_ADC_Init(&hadc);
				HAL_ADC_Start(&hadc);

				printTempST();

				HAL_ADC_Stop(&hadc);
				HAL_ADCEx_DisableVREFINTTempSensor();
				HAL_ADC_DeInit(&hadc);
				HAL_ADC_Init(&hadc);
			}

			timeElapsed++;
			HAL_Delay(1);
			UARTstatus = HAL_UART_Receive(&huart2, (uint8_t *)in, 1, 1);

		} else {  //valid data end of if statement
				//boolWrote = 0;
				UARTstatus = HAL_UART_Receive(&huart2, (uint8_t *)in, 1, 1);
		}

	} while (UARTstatus != HAL_OK); //keep looping till they type

	ADXL355_Stop_Sensor(); //stop sensors
}

/*
 * @param : ui8address - unsigned 8 bit integer that represents the address we will read from
 *
 * This function is a callback for the accelerometer read
 */
uint32_t ADXL355_SPI_Read(uint8_t ui8address) {

	HAL_StatusTypeDef status;
	uint8_t recieveData;
	uint8_t txData;

	txData = (ui8address << 1) | 1 ;

	HAL_GPIO_WritePin(SPI1_CS_GPIO_Port, SPI1_CS_Pin, GPIO_PIN_RESET); //ON

	status = HAL_SPI_Transmit (&hspi1, &txData, 1, 100);

	status = HAL_SPI_Receive (&hspi1, &recieveData, 1, 100);

	HAL_GPIO_WritePin(SPI1_CS_GPIO_Port, SPI1_CS_Pin, GPIO_PIN_SET); //OFF

	if (status == HAL_OK)
		return recieveData;
	else
		printf("\r\nError Reading: Invalid HAL_STATUS\r\n");

	return 255;
}
/*
 * @param : ui8address - unsigned 8 bit integer that represents the address we will write to
 * @param : ui8Data - unsigned 8 bit integer that represents the data we will write into the corresponding address
 * @param : enMode - regarding how many bytes of data you will write, i chose to not really use this and hardcoded a
 *                   1 for '1 byte' in every write I ever used
 *
 * This function is a callback for the accelerometer write
 */
void ADXL355_SPI_Write(uint8_t ui8address, uint8_t ui8Data, enWriteData enMode) {

	HAL_StatusTypeDef status;
	uint8_t address;

	address = ((ui8address << 1) & 0xFE);

	HAL_GPIO_WritePin(SPI1_CS_GPIO_Port, SPI1_CS_Pin, GPIO_PIN_RESET); //ON

	status = HAL_SPI_Transmit (&hspi1, &address, 1, 100);
	status = HAL_SPI_Transmit (&hspi1, &ui8Data, 1, 100);

	HAL_GPIO_WritePin(SPI1_CS_GPIO_Port, SPI1_CS_Pin, GPIO_PIN_SET); //OFF

	if (status != HAL_OK)
		printf("\r\nError writing: Invalid HAL STATUS\r\n");
}

/*
 * @param : *f - FIFO pointer so that we can access its contents
 * @param : *buf - pointer to buffer string the FIFO will be utilizing
 * @param : size - size of the buffer string
 *
 * This function initializes the FIFO structure with the given buffer and size
 */
void fifo_init(fifo_t * f, uint32_t * buf, int size) {
	f -> head = 0;
	f -> tail = 0;
	f -> size = size;
	f -> buf = buf;
}
/*
 * @param : *f - FIFO pointer so that we can access its contents
 * @param : *buf - pointer to data string that we will be reading from
 * @param : nbytes - number of bytes we will be reading
 *
 * This function reads nbytes bytes from the FIFO, and the number of bytes read is returned
 * When something is read, something is popped off the FIFO, aka the lagging tail increases
 */
int fifo_read(fifo_t * f, void * buf, int nbytes) {
	int i;
	uint32_t * p;
	p = buf;

	for( i=0 ; i < nbytes ; i++ ) {
		if( f -> tail != f -> head ){ //see if any data is available
			*p++ = f -> buf[f -> tail];  //grab a byte from the buffer
			f -> tail++;  //increment the tail
			if( f -> tail == f -> size )  //check for wrap-around
				f -> tail = 0;
          } else //if data is not available
        	  return i; //number of bytes read
     }
     return nbytes;
}
/*
 * @param : *f - FIFO pointer so that we can access its contents
 * @param : *buf - pointer to data string that we will write into
 * @param : nbytes - number of bytes we will be writing
 *
 * This function writes up to nbytes bytes to the FIFO.
 * The number of bytes written is returned.
 * When something is written to, data is pushed onto the FIFO, aka the leading head increases
 * If the head runs in to the tail, data is overwritten
 */
int fifo_write(fifo_t * f, const void * buf, int nbytes) {
     int i;
     const uint32_t * p;
     p = buf;
     for( i=0 ; i < nbytes ; i++ ){
           //first check to see if there is space in the buffer
           if( (f -> head + 1 == f -> tail) || ((f -> head + 1 == f -> size) && (f -> tail == 0) )) {
        	   //no more room , overwrite
        	   f -> buf[f -> head] = *p++;
        	   f -> head++;  //increment the head
        	   f -> tail++; //increment tail (for overwrite)
        	   if ( f -> head == f -> size )  //check for wrap-around
        		   f -> head = 0;
        	   if (f -> tail == f -> size)
        		   f -> tail = 0;
           } else {
        	   f -> buf[f -> head] = *p++;
        	   f -> head++;  //increment the head
        	   if ( f -> head == f -> size )  //check for wrap-around
        		   f -> head = 0;
           }
     }
     return nbytes;
}
/*
 * @param : *f - FIFO pointer so that we can access its contents
 *
 * This function takes the average of all values contained in the FIFO buffer
 * In our convention, the number of items in a FIFO buffer of size n = n-1
 * This function returns the average as a float
 */
float fifo_average(fifo_t * f) { //tail is in front
	int64_t total = 0;
	float counter = 0.0;
	//int32_t print;

	//printf("\r\nNumbers:");
	int tempTail = f->tail;

	//z = ADXL355_Acceleration_Data_Conversion ();

	while (1) {

		if( tempTail != f -> head ){ //see if any data is available
			//print = f -> buf[tempTail];
			//printf(" %ld", print);
			total += ADXL355_Acceleration_Data_Conversion (f -> buf[tempTail]);  //adding to total NEW THING IS THE CONVERSION
			counter++;
			tempTail++;  //increment the tail
			if( tempTail == f -> size )  //check for wrap-around
				tempTail = 0;
		} else //if data is not available
			break; //number of bytes read
		}
	//printf("\r\n");

	float fTotal = total + 0.0;

	if ( counter == 0 )
		return 0;
	else
		return (fTotal/counter);
}
/*
 * This function was written with the sole purpose of debugging the software FIFO
 * It let me test it so that I could eventually get it to work
 * It was originally in main, with everything else commented out
 */
void fifoDebugger(void) {

	float average;
	char averageString[6];
	int terminate = 0;
	int boolWrote = 0;
	uint32_t buffer[BUFFER_SIZE];
	uint32_t dataOut; //sentinel value

	uint32_t data[15] = {5, 13, 4, 22, 46, 2, 19, 12, 56, 71, 33, 22, 15, 64, 24};
	//uint32_t data[DATA_SIZE] = {1, 2, 3, 4, 5, 6, 7, 8, 9, 10, 11, 12, 13, 14, 15}; //useful for debugging

	fifo_t myFifo; //fifo declaration

	uint32_t *pBuffer = &buffer[0]; //pointer declarations
	fifo_t *pFifo = &myFifo;
	uint32_t *pData = &data[0];

	fifo_init(pFifo, pBuffer, BUFFER_SIZE); //initialization

    printf("\r\nStarting. . .\r\n");

    for (int i = 0 ; i < 100 ; i++) {

    	if (i >= pFifo->size-1){
    		fifo_read(pFifo, &dataOut, 1);
		    if (boolWrote == 0)
		    	terminate++;
    	}

    	if (terminate == pFifo->size-2)
    		break;
    	boolWrote = 0;

    	if (i < 15) {
    		fifo_write(pFifo, pData++, 1);
    		boolWrote = 1;
    	}

    	average = fifo_average(pFifo);
    	floatToString(average, 4, averageString, 6);

    	printf("Average: %s \r\n\n", averageString);
    	//printf("Read: %lu  Write: %lu\r\n", dataOut, *pData++); //DO NOT INCREMENT POINTER IN MORE THAN ONE PLACE !!!
    }

    printf("Done!\r\n");
}

/* USER CODE END 4 */

void Error_Handler(void)
{
}

/************************ (C) COPYRIGHT STMicroelectronics *****END OF FILE****/
